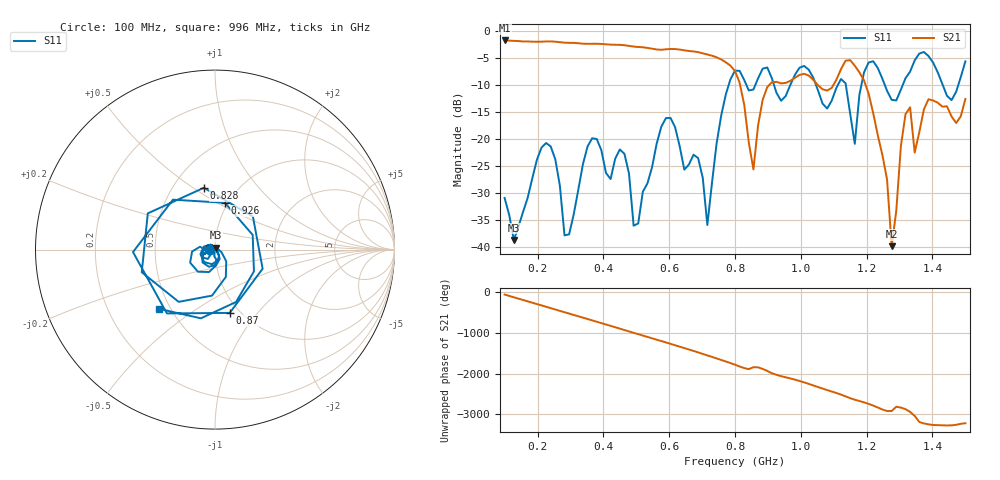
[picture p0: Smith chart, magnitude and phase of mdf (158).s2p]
! NanoVNA-App
! Date: 2025-09-25 15:39:39
! Start: 100MHz Stop: 1,5GHz Points: 101
! S-Parameter data: F S11 S21 S12 S22
# Hz S RI R 50
!  Frequency  S11_Real  S11_Imag  S21_Real  S21_Imag  S12_Real  S12_Imag  S22_Real  S22_Imag
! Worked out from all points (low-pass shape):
!   101 points, 100 MHz to 1.5 GHz, reference 50 ohm
!   highest |S21| = -1.81 dB at 100 MHz (marker M1); lowest = -39.8 dB at 1.276 GHz (marker M2)
!   |S21| within 3 dB of the highest: start of sweep to 738.8 MHz
!   lowest |S11| = -38.7 dB at 128 MHz (marker M3), VSWR 1.02, Z = 50.4 + j1.1 ohm
!   |S11| at or under -10 dB: start of sweep to 781 MHz; 918.3 MHz to 968.3 MHz (50.05 MHz wide, 5.31 % of centre); 1.046 GHz to 1.113 GHz (67 MHz wide, 6.21 % of centre) (the widest 3 of 7)
!   S12 and S22 are empty: the file has one direction only
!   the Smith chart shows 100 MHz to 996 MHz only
!   S11 on the Smith chart (normalised r, x): 100 MHz: 0.95, -0.01; 828 MHz: 0.70, +0.55; 870 MHz: 0.90, -0.73; 926 MHz: 0.97, +0.54; 996 MHz: 0.43, -0.36
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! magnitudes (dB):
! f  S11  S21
! 100 MHz  -30.9  -1.8
! 128 MHz  -38.7  -1.9
! 212 MHz  -21.6  -2.0
! 282 MHz  -37.8  -2.2
! 338 MHz  -24.7  -2.4
! 464 MHz  -22.7  -2.7
! 492 MHz  -36.0  -2.9
! 576 MHz  -17.8  -3.5
! 688 MHz  -23.5  -4.0
! 716 MHz  -35.9  -4.4
! 800 MHz  -7.4  -7.5
! 828 MHz  -9.1  -13.7
! 856 MHz  -10.9  -25.7
! 870 MHz  -8.8  -17.6
! 926 MHz  -11.5  -9.5
! 996 MHz  -6.8  -8.2
! 1.038 GHz  -8.7  -9.1
! 1.164 GHz  -20.9  -6.5
! 1.192 GHz  -7.7  -9.2
! 1.276 GHz  -12.8  -39.8
! 1.318 GHz  -8.8  -15.4
! 1.5 GHz  -5.7  -12.6
